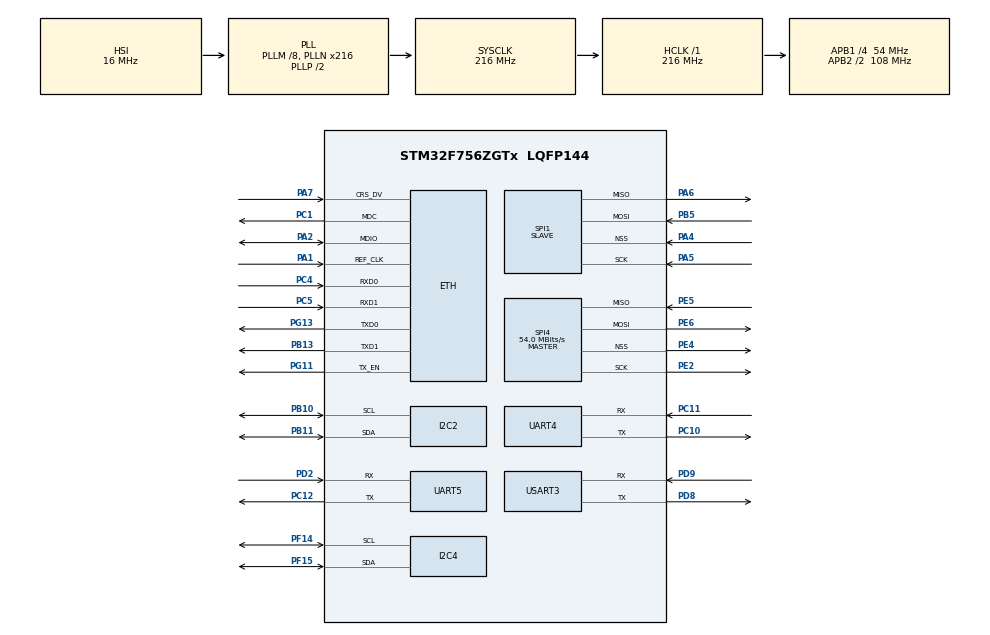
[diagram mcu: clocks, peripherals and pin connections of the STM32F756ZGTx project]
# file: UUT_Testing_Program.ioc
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ADC1.Channel-1\#ChannelRegularConversion=ADC_CHANNEL_VREFINT
ADC1.ContinuousConvMode=ENABLE
ADC1.NbrOfConversionFlag=1
ADC1.Rank-1\#ChannelRegularConversion=1
ADC1.SamplingTime-1\#ChannelRegularConversion=ADC_SAMPLETIME_480CYCLES
ADC1.master=1
Dma.ADC1.9.Direction=DMA_PERIPH_TO_MEMORY
Dma.ADC1.9.FIFOMode=DMA_FIFOMODE_DISABLE
Dma.ADC1.9.Instance=DMA2_Stream4
Dma.ADC1.9.MemDataAlignment=DMA_MDATAALIGN_HALFWORD
Dma.ADC1.9.MemInc=DMA_MINC_ENABLE
Dma.ADC1.9.Mode=DMA_NORMAL
Dma.ADC1.9.PeriphDataAlignment=DMA_PDATAALIGN_HALFWORD
Dma.ADC1.9.PeriphInc=DMA_PINC_DISABLE
Dma.ADC1.9.Priority=DMA_PRIORITY_LOW
Dma.I2C2_RX.5.Direction=DMA_PERIPH_TO_MEMORY
Dma.I2C2_RX.5.FIFOMode=DMA_FIFOMODE_DISABLE
Dma.I2C2_RX.5.Instance=DMA1_Stream3
Dma.I2C2_RX.5.MemDataAlignment=DMA_MDATAALIGN_BYTE
Dma.I2C2_RX.5.MemInc=DMA_MINC_ENABLE
Dma.I2C2_RX.5.Mode=DMA_NORMAL
Dma.I2C2_RX.5.PeriphDataAlignment=DMA_PDATAALIGN_BYTE
Dma.I2C2_RX.5.PeriphInc=DMA_PINC_DISABLE
Dma.I2C2_RX.5.Priority=DMA_PRIORITY_LOW
Dma.I2C4_TX.4.Direction=DMA_MEMORY_TO_PERIPH
Dma.I2C4_TX.4.FIFOMode=DMA_FIFOMODE_DISABLE
Dma.I2C4_TX.4.Instance=DMA1_Stream5
Dma.I2C4_TX.4.MemDataAlignment=DMA_MDATAALIGN_BYTE
Dma.I2C4_TX.4.MemInc=DMA_MINC_ENABLE
Dma.I2C4_TX.4.Mode=DMA_NORMAL
Dma.I2C4_TX.4.PeriphDataAlignment=DMA_PDATAALIGN_BYTE
Dma.I2C4_TX.4.PeriphInc=DMA_PINC_DISABLE
Dma.I2C4_TX.4.Priority=DMA_PRIORITY_LOW
Dma.Request0=UART4_RX
Dma.Request1=UART4_TX
Dma.Request2=UART5_RX
Dma.Request3=UART5_TX
Dma.Request4=I2C4_TX
Dma.Request5=I2C2_RX
Dma.Request6=SPI1_RX
Dma.Request7=SPI4_RX
Dma.Request8=SPI4_TX
Dma.Request9=ADC1
Dma.SPI1_RX.6.Direction=DMA_PERIPH_TO_MEMORY
Dma.SPI1_RX.6.FIFOMode=DMA_FIFOMODE_DISABLE
Dma.SPI1_RX.6.Instance=DMA2_Stream0
Dma.SPI1_RX.6.MemDataAlignment=DMA_MDATAALIGN_BYTE
Dma.SPI1_RX.6.MemInc=DMA_MINC_ENABLE
Dma.SPI1_RX.6.Mode=DMA_NORMAL
Dma.SPI1_RX.6.PeriphDataAlignment=DMA_PDATAALIGN_BYTE
Dma.SPI1_RX.6.PeriphInc=DMA_PINC_DISABLE
Dma.SPI1_RX.6.Priority=DMA_PRIORITY_LOW
Dma.SPI4_RX.7.Direction=DMA_PERIPH_TO_MEMORY
Dma.SPI4_RX.7.FIFOMode=DMA_FIFOMODE_DISABLE
Dma.SPI4_RX.7.Instance=DMA2_Stream3
Dma.SPI4_RX.7.MemDataAlignment=DMA_MDATAALIGN_BYTE
Dma.SPI4_RX.7.MemInc=DMA_MINC_ENABLE
Dma.SPI4_RX.7.Mode=DMA_NORMAL
Dma.SPI4_RX.7.PeriphDataAlignment=DMA_PDATAALIGN_BYTE
Dma.SPI4_RX.7.PeriphInc=DMA_PINC_DISABLE
Dma.SPI4_RX.7.Priority=DMA_PRIORITY_LOW
Dma.SPI4_TX.8.Direction=DMA_MEMORY_TO_PERIPH
Dma.SPI4_TX.8.FIFOMode=DMA_FIFOMODE_DISABLE
Dma.SPI4_TX.8.Instance=DMA2_Stream1
Dma.SPI4_TX.8.MemDataAlignment=DMA_MDATAALIGN_BYTE
Dma.SPI4_TX.8.MemInc=DMA_MINC_ENABLE
Dma.SPI4_TX.8.Mode=DMA_NORMAL
Dma.SPI4_TX.8.PeriphDataAlignment=DMA_PDATAALIGN_BYTE
Dma.SPI4_TX.8.PeriphInc=DMA_PINC_DISABLE
Dma.SPI4_TX.8.Priority=DMA_PRIORITY_LOW
Dma.UART4_RX.0.Direction=DMA_PERIPH_TO_MEMORY
Dma.UART4_RX.0.FIFOMode=DMA_FIFOMODE_DISABLE
Dma.UART4_RX.0.Instance=DMA1_Stream2
Dma.UART4_RX.0.MemDataAlignment=DMA_MDATAALIGN_BYTE
Dma.UART4_RX.0.MemInc=DMA_MINC_ENABLE
Dma.UART4_RX.0.Mode=DMA_NORMAL
Dma.UART4_RX.0.PeriphDataAlignment=DMA_PDATAALIGN_BYTE
Dma.UART4_RX.0.PeriphInc=DMA_PINC_DISABLE
Dma.UART4_RX.0.Priority=DMA_PRIORITY_LOW
Dma.UART4_TX.1.Direction=DMA_MEMORY_TO_PERIPH
Dma.UART4_TX.1.FIFOMode=DMA_FIFOMODE_DISABLE
Dma.UART4_TX.1.Instance=DMA1_Stream4
Dma.UART4_TX.1.MemDataAlignment=DMA_MDATAALIGN_BYTE
Dma.UART4_TX.1.MemInc=DMA_MINC_ENABLE
Dma.UART4_TX.1.Mode=DMA_NORMAL
Dma.UART4_TX.1.PeriphDataAlignment=DMA_PDATAALIGN_BYTE
Dma.UART4_TX.1.PeriphInc=DMA_PINC_DISABLE
Dma.UART4_TX.1.Priority=DMA_PRIORITY_LOW
Dma.UART5_RX.2.Direction=DMA_PERIPH_TO_MEMORY
Dma.UART5_RX.2.FIFOMode=DMA_FIFOMODE_DISABLE
Dma.UART5_RX.2.Instance=DMA1_Stream0
Dma.UART5_RX.2.MemDataAlignment=DMA_MDATAALIGN_BYTE
Dma.UART5_RX.2.MemInc=DMA_MINC_ENABLE
Dma.UART5_RX.2.Mode=DMA_NORMAL
Dma.UART5_RX.2.PeriphDataAlignment=DMA_PDATAALIGN_BYTE
Dma.UART5_RX.2.PeriphInc=DMA_PINC_DISABLE
Dma.UART5_RX.2.Priority=DMA_PRIORITY_LOW
Dma.UART5_TX.3.Direction=DMA_MEMORY_TO_PERIPH
Dma.UART5_TX.3.FIFOMode=DMA_FIFOMODE_DISABLE
Dma.UART5_TX.3.Instance=DMA1_Stream7
Dma.UART5_TX.3.MemDataAlignment=DMA_MDATAALIGN_BYTE
Dma.UART5_TX.3.MemInc=DMA_MINC_ENABLE
Dma.UART5_TX.3.Mode=DMA_NORMAL
Dma.UART5_TX.3.PeriphDataAlignment=DMA_PDATAALIGN_BYTE
Dma.UART5_TX.3.PeriphInc=DMA_PINC_DISABLE
Dma.UART5_TX.3.Priority=DMA_PRIORITY_LOW
ETH.MediaInterface=HAL_ETH_RMII_MODE
FREERTOS.Tasks01=defaultTask,24,256,StartDefaultTask,Default,NULL,Dynamic,NULL,NULL
FREERTOS.configENABLE_FPU=1
FREERTOS.configTOTAL_HEAP_SIZE=0x10000
FREERTOS.configUSE_NEWLIB_REENTRANT=1
I2C2.OwnAddress=0x52
I2C2.Timing=0x20404768
I2C4.Timing=0x20404768
LWIP.BSP.number=1
LWIP.GATEWAY_ADDRESS=192.168.010.001
LWIP.IP_ADDRESS=192.168.010.002
LWIP.LWIP_DHCP=0
LWIP.NETMASK_ADDRESS=255.255.255.000
LWIP.Version=v2.1.2_Cube
LWIP0.BSP.STBoard=false
LWIP0.BSP.api=BSP_COMPONENT_DRIVER
LWIP0.BSP.component=LAN8742
LWIP0.BSP.instance=LAN8742
LWIP0.BSP.name=Driver_PHY
LWIP0.BSP.semaphore=S_LAN8742
LWIP0.BSP.solution=LAN8742
Mcu.Family=STM32F7
Mcu.Name=STM32F756ZGTx
Mcu.Package=LQFP144
NVIC.ADC_IRQn=true\:5\:0\:false\:false\:true\:true\:true\:true\:true
NVIC.DMA1_Stream0_IRQn=true\:5\:0\:false\:false\:true\:true\:false\:true\:true
NVIC.DMA1_Stream2_IRQn=true\:5\:0\:true\:false\:true\:true\:false\:true\:true
NVIC.DMA1_Stream3_IRQn=true\:5\:0\:false\:false\:true\:true\:false\:true\:true
NVIC.DMA1_Stream4_IRQn=true\:5\:0\:false\:false\:true\:true\:false\:true\:true
NVIC.DMA1_Stream5_IRQn=true\:5\:0\:false\:false\:true\:true\:false\:true\:true
NVIC.DMA1_Stream7_IRQn=true\:5\:0\:false\:false\:true\:true\:false\:true\:true
NVIC.DMA2_Stream0_IRQn=true\:5\:0\:false\:false\:true\:true\:false\:true\:true
NVIC.DMA2_Stream1_IRQn=true\:5\:0\:false\:false\:true\:true\:false\:true\:true
NVIC.DMA2_Stream3_IRQn=true\:5\:0\:false\:false\:true\:true\:false\:true\:true
NVIC.DMA2_Stream4_IRQn=true\:5\:0\:false\:false\:true\:true\:false\:true\:true
NVIC.ETH_IRQn=true\:5\:0\:true\:false\:true\:true\:true\:true\:true
NVIC.I2C2_ER_IRQn=true\:5\:0\:false\:false\:true\:true\:true\:true\:true
NVIC.I2C2_EV_IRQn=true\:5\:0\:false\:false\:true\:true\:true\:true\:true
NVIC.I2C4_ER_IRQn=true\:5\:0\:false\:false\:true\:true\:true\:true\:true
NVIC.I2C4_EV_IRQn=true\:5\:0\:false\:false\:true\:true\:true\:true\:true
NVIC.PriorityGroup=NVIC_PRIORITYGROUP_4
NVIC.TIM2_IRQn=true\:5\:0\:false\:false\:true\:true\:true\:true\:true
NVIC.TIM6_DAC_IRQn=true\:15\:0\:false\:false\:true\:false\:false\:true\:true
NVIC.TimeBase=TIM6_DAC_IRQn
NVIC.TimeBaseIP=TIM6
NVIC.UART4_IRQn=true\:5\:0\:true\:false\:true\:true\:true\:true\:true
NVIC.UART5_IRQn=true\:5\:0\:false\:false\:true\:true\:true\:true\:true
PA1.Mode=RMII
PA1.Signal=ETH_REF_CLK
PA2.Mode=RMII
PA2.Signal=ETH_MDIO
PA4.Mode=NSS_Signal_Hard_Input
PA4.Signal=SPI1_NSS
PA5.Mode=Full_Duplex_Slave
PA5.Signal=SPI1_SCK
PA6.Mode=Full_Duplex_Slave
PA6.Signal=SPI1_MISO
PA7.Mode=RMII
PA7.Signal=ETH_CRS_DV
PB10.GPIO_Pu=GPIO_PULLUP
PB10.Mode=I2C
PB10.Signal=I2C2_SCL
PB11.GPIO_Pu=GPIO_PULLUP
PB11.Mode=I2C
PB11.Signal=I2C2_SDA
PB13.Mode=RMII
PB13.Signal=ETH_TXD1
PB5.Mode=Full_Duplex_Slave
PB5.Signal=SPI1_MOSI
PB9.GPIO_Pu=GPIO_PULLUP
PB9.Signal=I2C1_SDA
PC1.Mode=RMII
PC1.Signal=ETH_MDC
PC10.Mode=Asynchronous
PC10.Signal=UART4_TX
PC11.Mode=Asynchronous
PC11.Signal=UART4_RX
PC12.Mode=Asynchronous
PC12.Signal=UART5_TX
PC4.Mode=RMII
PC4.Signal=ETH_RXD0
PC5.Mode=RMII
PC5.Signal=ETH_RXD1
PD2.Mode=Asynchronous
PD2.Signal=UART5_RX
PD8.Mode=Asynchronous
PD8.Signal=USART3_TX
PD9.Mode=Asynchronous
PD9.Signal=USART3_RX
PE2.Mode=Full_Duplex_Master
PE2.Signal=SPI4_SCK
PE4.Mode=NSS_Signal_Hard_Output
PE4.Signal=SPI4_NSS
PE5.Mode=Full_Duplex_Master
PE5.Signal=SPI4_MISO
PE6.Mode=Full_Duplex_Master
PE6.Signal=SPI4_MOSI
PF14.GPIO_Pu=GPIO_PULLUP
PF14.Mode=I2C
PF14.Signal=I2C4_SCL
PF15.GPIO_Pu=GPIO_PULLUP
PF15.Mode=I2C
PF15.Signal=I2C4_SDA
PG11.Mode=RMII
PG11.Signal=ETH_TX_EN
PG13.Mode=RMII
PG13.Signal=ETH_TXD0
ProjectManager.HeapSize=0x200
ProjectManager.StackSize=0x400
ProjectManager.TargetToolchain=STM32CubeIDE
RCC.AHBFreq_Value=216000000
RCC.APB1CLKDivider=RCC_HCLK_DIV4
RCC.APB1Freq_Value=54000000
RCC.APB1TimFreq_Value=108000000
RCC.APB2CLKDivider=RCC_HCLK_DIV2
RCC.APB2Freq_Value=108000000
RCC.APB2TimFreq_Value=216000000
RCC.CortexFreq_Value=216000000
RCC.HCLKFreq_Value=216000000
RCC.HSE_VALUE=25000000
RCC.HSI_VALUE=16000000
RCC.LSE_VALUE=32768
RCC.PLLM=8
RCC.PLLN=216
RCC.SYSCLKFreq_VALUE=216000000
RCC.SYSCLKSource=RCC_SYSCLKSOURCE_PLLCLK
RCC.USBFreq_Value=216000000
RCC.VCOOutputFreq_Value=432000000
SPI1.DataSize=SPI_DATASIZE_8BIT
SPI1.Direction=SPI_DIRECTION_2LINES
SPI1.Mode=SPI_MODE_SLAVE
SPI1.VirtualNSS=VM_NSSHARD
SPI1.VirtualType=VM_SLAVE
SPI4.CalculateBaudRate=54.0 MBits/s
SPI4.DataSize=SPI_DATASIZE_8BIT
SPI4.Direction=SPI_DIRECTION_2LINES
SPI4.Mode=SPI_MODE_MASTER
SPI4.NSSPMode=SPI_NSS_PULSE_DISABLE
SPI4.VirtualNSS=VM_NSSHARD
SPI4.VirtualType=VM_MASTER
TIM1.AutoReloadPreload=TIM_AUTORELOAD_PRELOAD_ENABLE
TIM1.Prescaler=215
TIM2.AutoReloadPreload=TIM_AUTORELOAD_PRELOAD_ENABLE
TIM2.Period=499
TIM2.Prescaler=10799
USART3.VirtualMode-Asynchronous=VM_ASYNC
VP_ADC1_Vref_Input.Mode=IN-Vrefint
VP_CRC_VS_CRC.Mode=CRC_Activate
VP_FREERTOS_VS_CMSIS_V2.Mode=CMSIS_V2
VP_LWIP_VS_Enabled.Mode=Enabled
VP_SYS_VS_tim6.Mode=TIM6
VP_TIM1_VS_ClockSourceINT.Mode=Internal
VP_TIM2_VS_ClockSourceINT.Mode=Internal
board=custom

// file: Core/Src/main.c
/* USER CODE BEGIN Header */
/**
  ******************************************************************************
  * @file           : main.c
  * @brief          : Main program body
  ******************************************************************************
  * @attention
  *
  * Copyright (c) 2026 STMicroelectronics.
  * All rights reserved.
  *
  * This software is licensed under terms that can be found in the LICENSE file
  * in the root directory of this software component.
  * If no LICENSE file comes with this software, it is provided AS-IS.
  *
  ******************************************************************************
  */
/* USER CODE END Header */
#include "main.h"
#include "cmsis_os.h"
#include "adc.h"
#include "crc.h"
#include "dma.h"
#include "i2c.h"
#include "lwip.h"
#include "spi.h"
#include "tim.h"
#include "usart.h"
#include "gpio.h"

/* USER CODE BEGIN PV */
extern TaskHandle_t TimerTaskHandle;
/* USER CODE END PV */

void SystemClock_Config(void);
void MX_FREERTOS_Init(void);

int main(void)
{

  /* MCU Configuration--------------------------------------------------------*/

  /* Reset of all peripherals, Initializes the Flash interface and the Systick. */
  HAL_Init();

  /* Configure the system clock */
  SystemClock_Config();

  /* Initialize all configured peripherals */
  MX_GPIO_Init();
  MX_DMA_Init();
  MX_USART3_UART_Init();
  MX_UART4_Init();
  MX_UART5_Init();
  MX_CRC_Init();
  MX_SPI4_Init();
  MX_SPI1_Init();
  MX_I2C4_Init();
  MX_I2C2_Init();
  MX_ADC1_Init();
  MX_TIM1_Init();
  MX_TIM2_Init();

  /* Init scheduler */
  osKernelInitialize();  /* Call init function for freertos objects (in cmsis_os2.c) */
  MX_FREERTOS_Init();

  /* Start scheduler */
  osKernelStart();

  /* We should never get here as control is now taken by the scheduler */

  /* Infinite loop */
  while (1)
  {

  }
}

void SystemClock_Config(void)
{
  RCC_OscInitTypeDef RCC_OscInitStruct = {0};
  RCC_ClkInitTypeDef RCC_ClkInitStruct = {0};

  /** Configure the main internal regulator output voltage
  */
  __HAL_RCC_PWR_CLK_ENABLE();
  __HAL_PWR_VOLTAGESCALING_CONFIG(PWR_REGULATOR_VOLTAGE_SCALE1);

  /** Initializes the RCC Oscillators according to the specified parameters
  * in the RCC_OscInitTypeDef structure.
  */
  RCC_OscInitStruct.OscillatorType = RCC_OSCILLATORTYPE_HSI;
  RCC_OscInitStruct.HSIState = RCC_HSI_ON;
  RCC_OscInitStruct.HSICalibrationValue = RCC_HSICALIBRATION_DEFAULT;
  RCC_OscInitStruct.PLL.PLLState = RCC_PLL_ON;
  RCC_OscInitStruct.PLL.PLLSource = RCC_PLLSOURCE_HSI;
  RCC_OscInitStruct.PLL.PLLM = 8;
  RCC_OscInitStruct.PLL.PLLN = 216;
  RCC_OscInitStruct.PLL.PLLP = RCC_PLLP_DIV2;
  RCC_OscInitStruct.PLL.PLLQ = 2;
  if (HAL_RCC_OscConfig(&RCC_OscInitStruct) != HAL_OK)
  {
    Error_Handler();
  }

  /** Activate the Over-Drive mode
  */
  if (HAL_PWREx_EnableOverDrive() != HAL_OK)
  {
    Error_Handler();
  }

  /** Initializes the CPU, AHB and APB buses clocks
  */
  RCC_ClkInitStruct.ClockType = RCC_CLOCKTYPE_HCLK|RCC_CLOCKTYPE_SYSCLK
                              |RCC_CLOCKTYPE_PCLK1|RCC_CLOCKTYPE_PCLK2;
  RCC_ClkInitStruct.SYSCLKSource = RCC_SYSCLKSOURCE_PLLCLK;
  RCC_ClkInitStruct.AHBCLKDivider = RCC_SYSCLK_DIV1;
  RCC_ClkInitStruct.APB1CLKDivider = RCC_HCLK_DIV4;
  RCC_ClkInitStruct.APB2CLKDivider = RCC_HCLK_DIV2;

  if (HAL_RCC_ClockConfig(&RCC_ClkInitStruct, FLASH_LATENCY_7) != HAL_OK)
  {
    Error_Handler();
  }
}

void HAL_TIM_PeriodElapsedCallback(TIM_HandleTypeDef *htim)
{
  if (htim->Instance == TIM6)
  {
    HAL_IncTick();
  }
  /* USER CODE BEGIN Callback 1 */
  if (htim->Instance == TIM2) {
      BaseType_t x = pdFALSE;
      xTaskNotifyFromISR(TimerTaskHandle,
    		  	  	  	 (1UL << 0),
                         eSetBits,
                         &x);
      portYIELD_FROM_ISR(x);
  }
  /* USER CODE END Callback 1 */
}

void Error_Handler(void)
{
  __disable_irq();
  while (1)
  {
  }
}

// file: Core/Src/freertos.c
/* USER CODE BEGIN Header */
/**
  ******************************************************************************
  * File Name          : freertos.c
  * Description        : Code for freertos applications
  ******************************************************************************
  * @attention
  *
  * Copyright (c) 2026 STMicroelectronics.
  * All rights reserved.
  *
  * This software is licensed under terms that can be found in the LICENSE file
  * in the root directory of this software component.
  * If no LICENSE file comes with this software, it is provided AS-IS.
  *
  ******************************************************************************
  */
/* USER CODE END Header */

#include "FreeRTOS.h"
#include "task.h"
#include "main.h"
#include "cmsis_os.h"

/* USER CODE BEGIN Includes */
#include "pc_test_uut.h"
#include "queue.h"
#include "semphr.h"
#include "usart.h"
#include "lwip/udp.h"
#include <string.h>
/* USER CODE END Includes */

/* USER CODE BEGIN PD */
#define QUEUE_COUNT     5
#define QUEUE_ITEM_SIZE sizeof(test_command_t)
/* USER CODE END PD */

/* USER CODE BEGIN Variables */
TaskHandle_t      UARTTaskHandle;
TaskHandle_t      SPITaskHandle;
TaskHandle_t      I2CTaskHandle;
TaskHandle_t      ADCTaskHandle;
TaskHandle_t      TimerTaskHandle;
TaskHandle_t      DispatcherTaskHandle;
QueueHandle_t     periphQueueHandle;
SemaphoreHandle_t uartSemHandle;
SemaphoreHandle_t spiSemHandle;
SemaphoreHandle_t i2cSemHandle;
SemaphoreHandle_t adcSemHandle;
SemaphoreHandle_t timerSemHandle;

/* Shared: Dispatcher writes, peripheral task reads */
test_command_t    g_uart_cmd;
test_command_t    g_spi_cmd;
test_command_t 	  g_i2c_cmd;
test_command_t    g_adc_cmd;
test_command_t    g_timer_cmd;

uint16_t g_pc_port;
/* USER CODE END Variables */
/* Definitions for defaultTask */
osThreadId_t defaultTaskHandle;
const osThreadAttr_t defaultTask_attributes = {
  .name = "defaultTask",
  .stack_size = 256 * 4,
  .priority = (osPriority_t) osPriorityNormal,
};

/* USER CODE BEGIN FunctionPrototypes */

void StartDispatcherTask(void *argument);
void StartUARTTask(void *argument);
void StartSPITask(void *argument);
void StartI2CTask(void *argument);
void StartADCTask(void *argument);
void StartTimerTask(void *argument);
void udp_listener_init(void);
void udp_receive_callback(void *arg, struct udp_pcb *upcb, struct pbuf *p,
                          const ip_addr_t *addr, u16_t port);
/* USER CODE END FunctionPrototypes */

void StartDefaultTask(void *argument);

extern void MX_LWIP_Init(void);
void MX_FREERTOS_Init(void); /* (MISRA C 2004 rule 8.1) */

void MX_FREERTOS_Init(void) {

  /* USER CODE BEGIN RTOS_SEMAPHORES */
	/* add semaphores, ... */
	uartSemHandle = xSemaphoreCreateBinary();
	spiSemHandle  = xSemaphoreCreateBinary();
	i2cSemHandle  = xSemaphoreCreateBinary();
	adcSemHandle = xSemaphoreCreateBinary();
	timerSemHandle = xSemaphoreCreateBinary();
  /* USER CODE END RTOS_SEMAPHORES */

  /* USER CODE BEGIN RTOS_QUEUES */
	/* add queues, ... */
	periphQueueHandle = xQueueCreate(QUEUE_COUNT, QUEUE_ITEM_SIZE);
  /* USER CODE END RTOS_QUEUES */

  /* Create the thread(s) */
  /* creation of defaultTask */
  defaultTaskHandle = osThreadNew(StartDefaultTask, NULL, &defaultTask_attributes);

  /* USER CODE BEGIN RTOS_THREADS */
	/* add threads, ... */
	xTaskCreate(StartDispatcherTask, "Dispatcher",
				configMINIMAL_STACK_SIZE * 2,
				NULL, osPriorityNormal1,   /* Priority 25 */
				&DispatcherTaskHandle);

	/* UARTTask — runs hardware test, highest priority */
	xTaskCreate(StartUARTTask,
			    "UARTTask",
				configMINIMAL_STACK_SIZE * 8,
				NULL, osPriorityNormal2,   /* Priority 26 */
				&UARTTaskHandle);
    xTaskCreate(StartSPITask,
                "SPITask",
                configMINIMAL_STACK_SIZE * 8,
                NULL,
                osPriorityNormal2,   /* Priority 26 */
                &SPITaskHandle);
    xTaskCreate(StartI2CTask,
                "I2CTask",
                configMINIMAL_STACK_SIZE * 8,
                NULL,
                osPriorityNormal2,   /* Priority 26 */
                &I2CTaskHandle);
	xTaskCreate(StartADCTask,
				"ADCTask",
				configMINIMAL_STACK_SIZE * 4,
	            NULL, osPriorityNormal1,
				&ADCTaskHandle);
	xTaskCreate(StartTimerTask,
				"TimerTask",
				configMINIMAL_STACK_SIZE * 4,
	            NULL, osPriorityNormal2,
				&TimerTaskHandle);
  /* USER CODE END RTOS_THREADS */

}

void StartDefaultTask(void *argument)
{
  /* init code for LWIP */
  MX_LWIP_Init();
  /* USER CODE BEGIN StartDefaultTask */
	/* Initialize UDP Listener */
	udp_listener_init();
	/* Infinite loop */
    for (;;) {
        osDelay(1);
    }
  /* USER CODE END StartDefaultTask */
}

/* USER CODE BEGIN Application */
/**
 * @brief  DispatcherTask — routes commands from the queue to peripheral tasks.
 *
 * Reads test_command_t items from periphQueueHandle and wakes the appropriate
 * peripheral task via its semaphore.
 *
 * @param  argument  Unused.
 * @retval None
 * -------------------------------------------------------------------------*/
void StartDispatcherTask(void *argument) {
    test_command_t cmd;

    for (;;) {
        if (xQueueReceive(periphQueueHandle, &cmd, portMAX_DELAY) == pdPASS) {
            switch (cmd.peripheral_id) {
				case TIMER_TEST:
					g_timer_cmd = cmd;
					xSemaphoreGive(timerSemHandle);
					break;

                case UART_TEST: /* UART */
                    g_uart_cmd = cmd;
                    xSemaphoreGive(uartSemHandle);
                    break;

                case SPI_TEST:
                    g_spi_cmd = cmd;
                    xSemaphoreGive(spiSemHandle);
                    break;

                case I2C_TEST:
					g_i2c_cmd = cmd;
					xSemaphoreGive(i2cSemHandle);
					break;

                case ADC_TEST:
                    g_adc_cmd = cmd;
                    xSemaphoreGive(adcSemHandle);
                    break;

                default:
                    printf("Dispatcher: unknown peripheral ID %d\r\n", cmd.peripheral_id);
                    break;
            }
        }
    }
}

/* ---------------------------------------------------------------------------
 * @brief  Initializes the lwIP UDP listener on UUT_PORT.
 *
 * Must be called from defaultTask only (lwIP context).
 * Registers udp_receive_callback to handle all incoming packets.
 *
 * @retval None
 * -------------------------------------------------------------------------*/
void udp_listener_init(void)
{
    struct udp_pcb *upcb = udp_new();

    printf("UUT: Setting up UDP listener on port %d...\r\n", UUT_PORT);

    if (upcb == NULL) {
        printf("ERROR: Could not allocate UDP PCB\r\n");
        return;
    }

    err_t err = udp_bind(upcb, IP_ADDR_ANY, UUT_PORT);
    if (err != ERR_OK) {
        printf("ERROR: UDP bind failed (err=%d)\r\n", err);
        return;
    }

    udp_recv(upcb, udp_receive_callback, NULL);
    printf("UUT: UDP listener ready\r\n");
}

/* ---------------------------------------------------------------------------
 * @brief  UDP receive callback — called by lwIP when a packet arrives.
 *
 * Copies the packet payload into a local test_command_t struct, saves the
 * sender's source port (needed to reply), frees the pbuf, then pushes the
 * command into periphQueueHandle for the Dispatcher.
 *
 * @param  arg   Unused user argument.
 * @param  upcb  UDP PCB that received the packet (unused).
 * @param  p     Received pbuf chain (must be freed before returning).
 * @param  addr  Source IP address of the sender.
 * @param  port  Source port of the sender — saved to g_pc_port.
 * @retval None
 * -------------------------------------------------------------------------*/
void udp_receive_callback(void *arg, struct udp_pcb *upcb, struct pbuf *p,
                          const ip_addr_t *addr, u16_t port)
{
    (void)arg;
    (void)upcb;
    (void)addr;

    if (p == NULL) {
        return;
    }

    test_command_t *rcv_packet = (test_command_t *)p->payload;

    printf("\r\nNetwork: packet received (Test ID=%lu, Periph=%d)\r\n",
    		rcv_packet->test_id, rcv_packet->peripheral_id);

    g_pc_port = port;

    test_command_t cmd_copy;
    memcpy(&cmd_copy, rcv_packet, sizeof(test_command_t));
    pbuf_free(p);

    /* Push to Dispatcher queue */
    if (xQueueSendToBack(periphQueueHandle, &cmd_copy, 0) != pdPASS) {
        printf("WARNING: Peripheral queue full! \r\n");
    }
}
/* USER CODE END Application */
